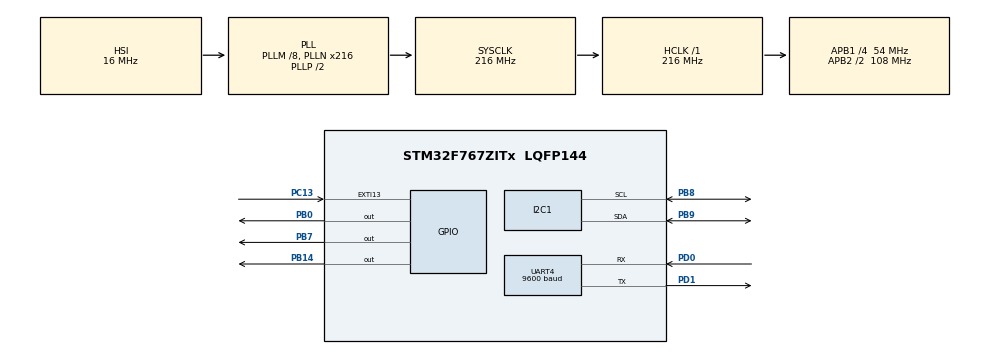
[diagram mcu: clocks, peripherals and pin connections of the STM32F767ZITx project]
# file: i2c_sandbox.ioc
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I2C1.NoStretchMode=I2C_NOSTRETCH_DISABLE
I2C1.Timing=0x20404768
Mcu.Family=STM32F7
Mcu.Name=STM32F767ZITx
Mcu.Package=LQFP144
NVIC.EXTI15_10_IRQn=true\:0\:0\:false\:false\:true\:true\:true
NVIC.PriorityGroup=NVIC_PRIORITYGROUP_4
PB0.Signal=GPIO_Output
PB14.Signal=GPIO_Output
PB7.Signal=GPIO_Output
PB8.Mode=I2C
PB8.Signal=I2C1_SCL
PB9.Mode=I2C
PB9.Signal=I2C1_SDA
PC13.GPIO_ModeDefaultEXTI=GPIO_MODE_IT_RISING_FALLING
PC13.GPIO_PuPd=GPIO_PULLDOWN
PC13.Signal=GPXTI13
PD0.Mode=Asynchronous
PD0.Signal=UART4_RX
PD1.Mode=Asynchronous
PD1.Signal=UART4_TX
PH0/OSC_IN.Mode=HSE-External-Clock-Source
PH0/OSC_IN.Signal=RCC_OSC_IN
PH1/OSC_OUT.Mode=HSE-External-Clock-Source
PH1/OSC_OUT.Signal=RCC_OSC_OUT
ProjectManager.HeapSize=0x200
ProjectManager.StackSize=0x400
ProjectManager.TargetToolchain=STM32CubeIDE
RCC.AHBFreq_Value=216000000
RCC.APB1CLKDivider=RCC_HCLK_DIV4
RCC.APB1Freq_Value=54000000
RCC.APB1TimFreq_Value=108000000
RCC.APB2CLKDivider=RCC_HCLK_DIV2
RCC.APB2Freq_Value=108000000
RCC.APB2TimFreq_Value=216000000
RCC.CortexFreq_Value=216000000
RCC.HCLKFreq_Value=216000000
RCC.HSE_VALUE=8000000
RCC.HSI_VALUE=16000000
RCC.LSE_VALUE=32768
RCC.PLLM=8
RCC.PLLN=216
RCC.SYSCLKFreq_VALUE=216000000
RCC.SYSCLKSource=RCC_SYSCLKSOURCE_PLLCLK
RCC.USBFreq_Value=216000000
RCC.VCOOutputFreq_Value=432000000
UART4.BaudRate=9600
board=custom

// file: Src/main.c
/* USER CODE BEGIN Header */
/**
 ******************************************************************************
 * @file           : main.c
 * @brief          : Main program body
 ******************************************************************************
 * @attention
 *
 * <h2><center>&copy; Copyright (c) 2019 STMicroelectronics.
 * All rights reserved.</center></h2>
 *
 * This software component is licensed by ST under BSD 3-Clause license,
 * the "License"; You may not use this file except in compliance with the
 * License. You may obtain a copy of the License at:
 *                        opensource.org/licenses/BSD-3-Clause
 *
 ******************************************************************************
 */
/* USER CODE END Header */

#include "main.h"
#include "i2c.h"
#include "usart.h"
#include "gpio.h"

/* USER CODE BEGIN Includes */
#include <stdio.h>
#include "si7021.h"
/* USER CODE END Includes */

/* USER CODE BEGIN PD */
#define DEBOUNCE_MS			(50U)
/* USER CODE END PD */

/* USER CODE BEGIN PV */
static volatile _Bool tick_500ms = 0;
static volatile _Bool buttonPressed = 0;
static volatile uint32_t buttonStartTime = 0;
static volatile uint32_t buttonStopTime = 0;

Si7021_TypeDef sensor;
uint8_t obufH[32];
uint8_t obufT[32];
uint8_t obufS[32];
/* USER CODE END PV */

void SystemClock_Config(void);

/* USER CODE BEGIN 0 */
/**
 * @brief This function handles System tick timer.
 */
void SysTick_Handler(void)
{
	/* USER CODE BEGIN SysTick_IRQn 0 */

	/* USER CODE END SysTick_IRQn 0 */
	HAL_IncTick();

	if (HAL_GetTick() % 500 == 0) {
		tick_500ms = 1;
	}

	/* USER CODE BEGIN SysTick_IRQn 1 */

	/* USER CODE END SysTick_IRQn 1 */
}
/* USER CODE END 0 */

int main(void)
{

	/* MCU Configuration--------------------------------------------------------*/

	/* Reset of all peripherals, Initializes the Flash interface and the Systick. */
	HAL_Init();

	/* Configure the system clock */
	SystemClock_Config();

	/* Initialize all configured peripherals */
	MX_GPIO_Init();
	MX_I2C1_Init();
	MX_UART4_Init();
	/* USER CODE BEGIN 2 */
	Si7021_Init(&sensor, &hi2c1, SI7021_DEFAULT_ADDRESS);
	if (Si7021_Begin(&sensor) != 1) {
		Error_Handler();
	}

	/* USER CODE END 2 */

	/* Infinite loop */
	/* USER CODE BEGIN WHILE */
	while (1)
	{
		if(tick_500ms) {
			HAL_GPIO_TogglePin(GPIOB, GPIO_PIN_0);

			float hum = Si7021_ReadHumidity(&sensor);
			float temp = Si7021_ReadPrevTemperature(&sensor);
			uint8_t heat = Si7021_HeaterStatus(&sensor);

			sprintf((char *)obufH, "Humidity: %.1f%%\r\n", hum);
			if (HAL_UART_Transmit(&huart4, obufH, (uint16_t)sizeof(obufH), HAL_MAX_DELAY) != HAL_OK) {
				Error_Handler();
			}

			sprintf((char *)obufT, "PrevTemperature: %.1f C\r\n", temp);
			if (HAL_UART_Transmit(&huart4, obufT, (uint16_t)sizeof(obufT), HAL_MAX_DELAY) != HAL_OK) {
				Error_Handler();
			}

			sprintf((char *)obufS, "Heater: %d\r\n\n", heat);
			if (HAL_UART_Transmit(&huart4, obufS, (uint16_t)sizeof(obufS), HAL_MAX_DELAY) != HAL_OK) {
				Error_Handler();
			}

			tick_500ms = 0;
		}

		/* USER CODE END WHILE */

	}
}

void SystemClock_Config(void)
{
	RCC_OscInitTypeDef RCC_OscInitStruct = {0};
	RCC_ClkInitTypeDef RCC_ClkInitStruct = {0};
	RCC_PeriphCLKInitTypeDef PeriphClkInitStruct = {0};

	/** Configure the main internal regulator output voltage
	 */
	__HAL_RCC_PWR_CLK_ENABLE();
	__HAL_PWR_VOLTAGESCALING_CONFIG(PWR_REGULATOR_VOLTAGE_SCALE1);
	/** Initializes the CPU, AHB and APB busses clocks
	 */
	RCC_OscInitStruct.OscillatorType = RCC_OSCILLATORTYPE_HSI;
	RCC_OscInitStruct.HSIState = RCC_HSI_ON;
	RCC_OscInitStruct.HSICalibrationValue = RCC_HSICALIBRATION_DEFAULT;
	RCC_OscInitStruct.PLL.PLLState = RCC_PLL_ON;
	RCC_OscInitStruct.PLL.PLLSource = RCC_PLLSOURCE_HSI;
	RCC_OscInitStruct.PLL.PLLM = 8;
	RCC_OscInitStruct.PLL.PLLN = 216;
	RCC_OscInitStruct.PLL.PLLP = RCC_PLLP_DIV2;
	RCC_OscInitStruct.PLL.PLLQ = 2;
	if (HAL_RCC_OscConfig(&RCC_OscInitStruct) != HAL_OK)
	{
		Error_Handler();
	}
	/** Activate the Over-Drive mode
	 */
	if (HAL_PWREx_EnableOverDrive() != HAL_OK)
	{
		Error_Handler();
	}
	/** Initializes the CPU, AHB and APB busses clocks
	 */
	RCC_ClkInitStruct.ClockType = RCC_CLOCKTYPE_HCLK|RCC_CLOCKTYPE_SYSCLK
			|RCC_CLOCKTYPE_PCLK1|RCC_CLOCKTYPE_PCLK2;
	RCC_ClkInitStruct.SYSCLKSource = RCC_SYSCLKSOURCE_PLLCLK;
	RCC_ClkInitStruct.AHBCLKDivider = RCC_SYSCLK_DIV1;
	RCC_ClkInitStruct.APB1CLKDivider = RCC_HCLK_DIV4;
	RCC_ClkInitStruct.APB2CLKDivider = RCC_HCLK_DIV2;

	if (HAL_RCC_ClockConfig(&RCC_ClkInitStruct, FLASH_LATENCY_7) != HAL_OK)
	{
		Error_Handler();
	}
	PeriphClkInitStruct.PeriphClockSelection = RCC_PERIPHCLK_UART4|RCC_PERIPHCLK_I2C1;
	PeriphClkInitStruct.Uart4ClockSelection = RCC_UART4CLKSOURCE_PCLK1;
	PeriphClkInitStruct.I2c1ClockSelection = RCC_I2C1CLKSOURCE_PCLK1;
	if (HAL_RCCEx_PeriphCLKConfig(&PeriphClkInitStruct) != HAL_OK)
	{
		Error_Handler();
	}
}

/* USER CODE BEGIN 4 */
void HAL_GPIO_EXTI_Callback(uint16_t GPIO_Pin)
{
	if (GPIO_Pin == GPIO_PIN_13) {
		if (HAL_GPIO_ReadPin(GPIOC, GPIO_Pin) == GPIO_PIN_SET) {
			buttonStartTime = HAL_GetTick();
		}
		else {
			buttonStopTime = HAL_GetTick();
			if (buttonStopTime - buttonStartTime >= DEBOUNCE_MS) {
				if (sensor.heater) {
					if (Si7021_HeaterOff(&sensor) != 1) {
						Error_Handler();
					}
					GPIOB->BSRR = GPIO_PIN_7 << 16;
				}
				else {
					if (Si7021_HeaterOn(&sensor, 8) != 1) {
						Error_Handler();
					}
					GPIOB->BSRR = GPIO_PIN_7;
				}
			}
		}
	}
}
/* USER CODE END 4 */

void Error_Handler(void)
{
	/* USER CODE BEGIN Error_Handler_Debug */
	/* Turn on red Nucleo LED, turn off blue and green */
	while(1) {
		GPIOB->BSRR = (GPIO_PIN_14) | (GPIO_PIN_0|GPIO_PIN_7) << 16;
	}

	/* USER CODE END Error_Handler_Debug */
}

/************************ (C) COPYRIGHT STMicroelectronics *****END OF FILE****/
